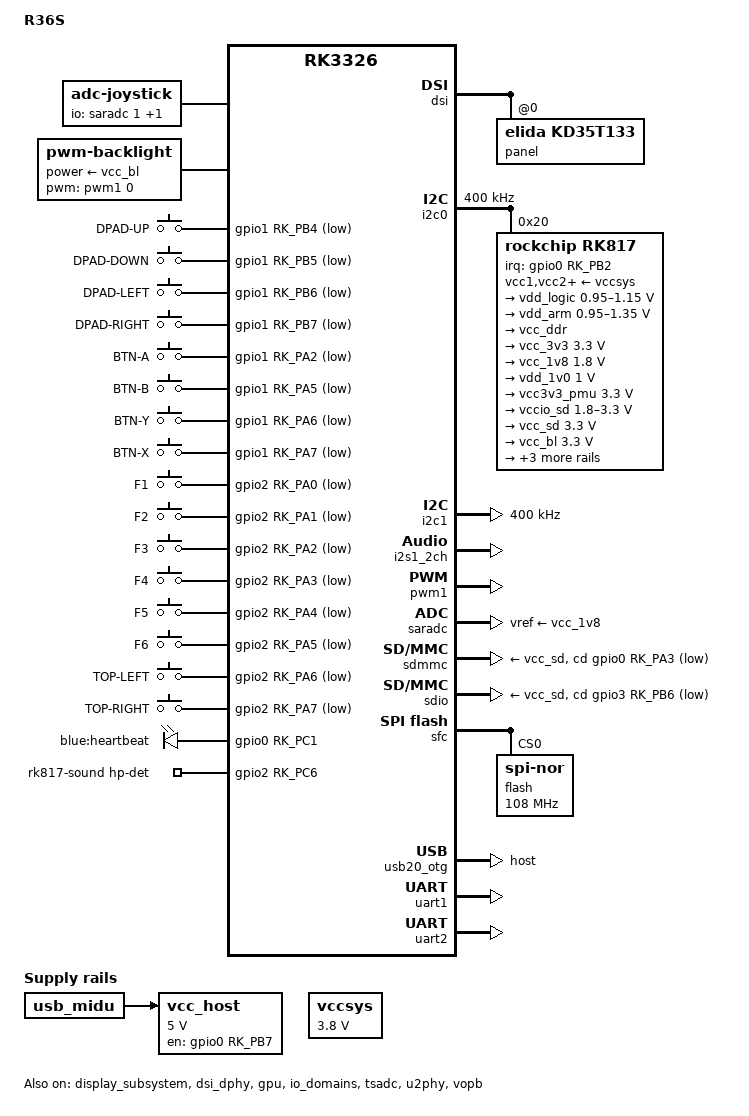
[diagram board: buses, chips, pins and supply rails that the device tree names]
// SPDX-License-Identifier: (GPL-2.0+ OR MIT)
/*
 * Copyright (c) 2019 Hardkernel Co., Ltd
 * Copyright (c) 2020 Theobroma Systems Design und Consulting GmbH
 */

/dts-v1/;
#include <dt-bindings/gpio/gpio.h>
#include <dt-bindings/input/input.h>
#include <dt-bindings/pinctrl/rockchip.h>
#include "rk3326.dtsi"

/ {
	model = "R36S";
	compatible = "hardkernel,rk3326-odroid-go2", "rockchip,rk3326";

	chosen {
		stdout-path = "serial2:115200n8";
	};

	adc-joystick {
		compatible = "adc-joystick";
		io-channels = <&saradc 1>,
			      <&saradc 2>;
		#address-cells = <1>;
		#size-cells = <0>;

		axis@0 {
			reg = <0>;
			abs-flat = <10>;
			abs-fuzz = <10>;
			abs-range = <172 772>;
			linux,code = <ABS_X>;
		};

		axis@1 {
			reg = <1>;
			abs-flat = <10>;
			abs-fuzz = <10>;
			abs-range = <278 815>;
			linux,code = <ABS_Y>;
		};
	};

	backlight: backlight {
		compatible = "pwm-backlight";
		power-supply = <&vcc_bl>;
		pwms = <&pwm1 0 25000 0>;
	};

	gpio-keys {
		compatible = "gpio-keys";
		pinctrl-names = "default";
		pinctrl-0 = <&btn_pins>;

		/*
		 *      *** ODROIDGO2-Advance Switch layout ***
		 * |------------------------------------------------|
		 * | sw15                                      sw16 |
		 * |------------------------------------------------|
		 * |     sw1      |-------------------|      sw8    |
		 * |  sw3   sw4   |                   |   sw7   sw5 |
		 * |     sw2      |    LCD Display    |      sw6    |
		 * |              |                   |             |
		 * |              |-------------------|             |
		 * |         sw9 sw10   sw11 sw12   sw13 sw14       |
		 * |------------------------------------------------|
		 */

		sw1 {
			gpios = <&gpio1 RK_PB4 GPIO_ACTIVE_LOW>;
			label = "DPAD-UP";
			linux,code = <BTN_DPAD_UP>;
		};
		sw2 {
			gpios = <&gpio1 RK_PB5 GPIO_ACTIVE_LOW>;
			label = "DPAD-DOWN";
			linux,code = <BTN_DPAD_DOWN>;
		};
		sw3 {
			gpios = <&gpio1 RK_PB6 GPIO_ACTIVE_LOW>;
			label = "DPAD-LEFT";
			linux,code = <BTN_DPAD_LEFT>;
		};
		sw4 {
			gpios = <&gpio1 RK_PB7 GPIO_ACTIVE_LOW>;
			label = "DPAD-RIGHT";
			linux,code = <BTN_DPAD_RIGHT>;
		};
		sw5 {
			gpios = <&gpio1 RK_PA2 GPIO_ACTIVE_LOW>;
			label = "BTN-A";
			linux,code = <BTN_EAST>;
		};
		sw6 {
			gpios = <&gpio1 RK_PA5 GPIO_ACTIVE_LOW>;
			label = "BTN-B";
			linux,code = <BTN_SOUTH>;
		};
		sw7 {
			gpios = <&gpio1 RK_PA6 GPIO_ACTIVE_LOW>;
			label = "BTN-Y";
			linux,code = <BTN_WEST>;
		};
		sw8 {
			gpios = <&gpio1 RK_PA7 GPIO_ACTIVE_LOW>;
			label = "BTN-X";
			linux,code = <BTN_NORTH>;
		};
		sw9 {
			gpios = <&gpio2 RK_PA0 GPIO_ACTIVE_LOW>;
			label = "F1";
			linux,code = <BTN_TRIGGER_HAPPY1>;
		};
		sw10 {
			gpios = <&gpio2 RK_PA1 GPIO_ACTIVE_LOW>;
			label = "F2";
			linux,code = <BTN_TRIGGER_HAPPY2>;
		};
		sw11 {
			gpios = <&gpio2 RK_PA2 GPIO_ACTIVE_LOW>;
			label = "F3";
			linux,code = <BTN_TRIGGER_HAPPY3>;
		};
		sw12 {
			gpios = <&gpio2 RK_PA3 GPIO_ACTIVE_LOW>;
			label = "F4";
			linux,code = <BTN_TRIGGER_HAPPY4>;
		};
		sw13 {
			gpios = <&gpio2 RK_PA4 GPIO_ACTIVE_LOW>;
			label = "F5";
			linux,code = <BTN_TRIGGER_HAPPY5>;
		};
		sw14 {
			gpios = <&gpio2 RK_PA5 GPIO_ACTIVE_LOW>;
			label = "F6";
			linux,code = <BTN_TRIGGER_HAPPY6>;
		};
		sw15 {
			gpios = <&gpio2 RK_PA6 GPIO_ACTIVE_LOW>;
			label = "TOP-LEFT";
			linux,code = <BTN_TL>;
		};
		sw16 {
			gpios = <&gpio2 RK_PA7 GPIO_ACTIVE_LOW>;
			label = "TOP-RIGHT";
			linux,code = <BTN_TR>;
		};
	};

	leds: gpio-leds {
		compatible = "gpio-leds";
		pinctrl-names = "default";
		pinctrl-0 = <&blue_led_pin>;

		blue_led: led-0 {
			label = "blue:heartbeat";
			gpios = <&gpio0 RK_PC1 GPIO_ACTIVE_HIGH>;
			linux,default-trigger = "heartbeat";
		};
	};

	rk817-sound {
		compatible = "simple-audio-card";
		simple-audio-card,name = "Analog";
		simple-audio-card,format = "i2s";
		simple-audio-card,hp-det-gpio = <&gpio2 RK_PC6 GPIO_ACTIVE_HIGH>;
		simple-audio-card,mclk-fs = <256>;
		simple-audio-card,widgets =
			"Microphone", "Mic Jack",
			"Headphone", "Headphones",
			"Speaker", "Speaker";
		simple-audio-card,routing =
			"MICL", "Mic Jack",
			"Headphones", "HPOL",
			"Headphones", "HPOR",
			"Speaker", "SPKO";

		simple-audio-card,codec {
			sound-dai = <&rk817>;
		};

		simple-audio-card,cpu {
			sound-dai = <&i2s1_2ch>;
		};
	};

	vccsys: vccsys {
		compatible = "regulator-fixed";
		regulator-name = "vcc3v8_sys";
		regulator-always-on;
		regulator-min-microvolt = <3800000>;
		regulator-max-microvolt = <3800000>;
	};

	vcc_host: vcc_host {
		compatible = "regulator-fixed";
		regulator-name = "vcc_host";
		regulator-min-microvolt = <5000000>;
		regulator-max-microvolt = <5000000>;

		gpio = <&gpio0 RK_PB7 GPIO_ACTIVE_HIGH>;
		enable-active-high;
		regulator-always-on;
		regulator-boot-on;
		vin-supply = <&usb_midu>;
	};
};

&cpu0 {
	cpu-supply = <&vdd_arm>;
};

&cpu1 {
	cpu-supply = <&vdd_arm>;
};

&cpu2 {
	cpu-supply = <&vdd_arm>;
};

&cpu3 {
	cpu-supply = <&vdd_arm>;
};

&cru {
	assigned-clocks = <&cru PLL_NPLL>,
		<&cru ACLK_BUS_PRE>, <&cru ACLK_PERI_PRE>,
		<&cru HCLK_BUS_PRE>, <&cru HCLK_PERI_PRE>,
		<&cru PCLK_BUS_PRE>, <&cru SCLK_GPU>,
		<&cru PLL_CPLL>;

	assigned-clock-rates = <1188000000>,
		<200000000>, <200000000>,
		<150000000>, <150000000>,
		<100000000>, <200000000>,
		<17000000>;
};

&display_subsystem {
	status = "okay";
};

&dsi {
	compatible = "rockchip,px30-mipi-dsi";
	reg = <0x00 0xff450000 0x00 0x10000>;
	interrupts = <0x00 0x4b 0x04>;
	clocks = <0x02 0x144 0x4c>;
	clock-names = "pclk", "hs_clk";
	resets = <0x02 0x3d>;
	reset-names = "apb";
	phys = <0x4c>;
	phy-names = "mipi_dphy";
	power-domains = <0x8a 0x0c>;
	rockchip,grf = <0x2f>;
	#address-cells = <0x01>;
	#size-cells = <0x00>;
	status = "okay";
	phandle = <0x10c>;

	ports {
		#address-cells = <0x01>;
		#size-cells = <0x00>;

		port@0 {
			reg = <0x00>;
			#address-cells = <0x01>;
			#size-cells = <0x00>;

			endpoint@0 {
				reg = <0x00>;
				remote-endpoint = <0x13>;
				status = "okay";
				phandle = <0xa3>;
			};
		};
	};

	panel@0 {
		compatible = "elida,kd35t133", "simple-panel-dsi";
		reg = <0x00>;
		backlight = <0x9d>;
		backlight-supply = <0x9e>;
		power-supply = <0x9f>;
		reset-gpios = <0x97 0x10 0x01>;
		reset-delay-ms = <0x96>;
		init-delay-ms = <0x14>;
		enable-delay-ms = <0x78>;
		prepare-delay-ms = <0x14>;
		unprepare-delay-ms = <0x14>;
		disable-delay-ms = <0x32>;
		width-mm = <0x34>;
		height-mm = <0x46>;
		dsi,flags = <0xa03>;
		dsi,format = <0x00>;
		dsi,lanes = <0x04>;

		panel-init-sequence = [
			15 00 02 ff 30 15 00 02 ff 52 15 00 02 ff 01 15 00 02 e3 00 
			15 00 02 25 10 15 00 02 28 6f 15 00 02 29 01 15 00 02 2a df 
			15 00 02 2c 22 15 00 02 c3 0f 15 00 02 37 9c 15 00 02 38 a7 
			15 00 02 39 41 15 00 02 80 20 15 00 02 91 67 15 00 02 92 67 
			15 00 02 a0 55 15 00 02 a1 50 15 00 02 a3 58 15 00 02 a4 9c 
			15 00 02 a7 02 15 00 02 a8 01 15 00 02 a9 21 15 00 02 aa fc 
			15 00 02 ab 28 15 00 02 ac 06 15 00 02 ad 06 15 00 02 ae 06 
			15 00 02 af 03 15 00 02 b0 08 15 00 02 b1 26 15 00 02 b2 28 
			15 00 02 b3 28 15 00 02 b4 03 15 00 02 b5 08 15 00 02 b6 26 
			15 00 02 b7 08 15 00 02 b8 26 15 00 02 2c 22 15 00 02 5c 40 
			15 00 02 c0 00 15 00 02 c1 00 15 00 02 c2 00 15 00 02 ff 30 
			15 00 02 ff 52 15 00 02 ff 02 15 00 02 b0 02 15 00 02 d0 02 
			15 00 02 b1 0f 15 00 02 d1 10 15 00 02 b2 11 15 00 02 d2 12 
			15 00 02 b3 32 15 00 02 d3 33 15 00 02 b4 36 15 00 02 d4 36 
			15 00 02 b5 3c 15 00 02 d5 3c 15 00 02 b6 20 15 00 02 d6 20 
			15 00 02 b7 3e 15 00 02 d7 3e 15 00 02 b8 0e 15 00 02 d8 0d 
			15 00 02 b9 05 15 00 02 d9 05 15 00 02 ba 11 15 00 02 da 12 
			15 00 02 bb 11 15 00 02 db 11 15 00 02 bc 13 15 00 02 dc 14 
			15 00 02 bd 14 15 00 02 dd 14 15 00 02 be 16 15 00 02 de 18 
			15 00 02 bf 0e 15 00 02 df 0f 15 00 02 c0 17 15 00 02 e0 17 
			15 00 02 c1 07 15 00 02 e1 08 15 00 02 ff 30 15 00 02 ff 52 
			15 00 02 ff 03 15 00 02 08 8a 15 00 02 09 8b 15 00 02 30 00 
			15 00 02 31 00 15 00 02 32 00 15 00 02 33 00 15 00 02 34 61 
			15 00 02 35 d4 15 00 02 36 24 15 00 02 37 03 15 00 02 40 86 
			15 00 02 41 87 15 00 02 42 84 15 00 02 43 85 15 00 02 44 11 
			15 00 02 45 de 15 00 02 46 dd 15 00 02 47 11 15 00 02 48 e0 
			15 00 02 49 df 15 00 02 50 82 15 00 02 51 83 15 00 02 52 80 
			15 00 02 53 81 15 00 02 54 11 15 00 02 55 e2 15 00 02 56 e1 
			15 00 02 57 11 15 00 02 58 e4 15 00 02 59 e3 15 00 02 82 0f 
			15 00 02 83 0f 15 00 02 84 00 15 00 02 85 0f 15 00 02 86 0f 
			15 00 02 87 0e 15 00 02 88 0e 15 00 02 89 06 15 00 02 8a 06 
			15 00 02 8b 07 15 00 02 8c 07 15 00 02 8d 04 15 00 02 8e 04 
			15 00 02 8f 05 15 00 02 90 05 15 00 02 98 0f 15 00 02 99 0f 
			15 00 02 9a 00 15 00 02 9b 0f 15 00 02 9c 0f 15 00 02 9d 0e 
			15 00 02 9e 0e 15 00 02 9f 06 15 00 02 a0 06 15 00 02 a1 07 
			15 00 02 a2 07 15 00 02 a3 04 15 00 02 a4 04 15 00 02 a5 05 
			15 00 02 a6 05 15 00 02 e0 02 15 00 02 e1 52 15 00 02 ff 30 
			15 00 02 ff 52 15 00 02 ff 00 15 00 02 36 02 15 00 02 11 00 
			15 00 02 29 00 05 c8 01 11 05 14 01 29
		];

		panel-exit-sequence = <0x05140128 0x050a0110>;

		display-timings {
			native-mode = <&timing60>;

			timing60: 60Hz {
				clock-frequency = <29000000>;
				hactive = <640>;
				vactive = <480>;
				hfront-porch = <46>;
				hsync-len = <2>;
				hback-porch = <44>;
				vfront-porch = <165>;
				vsync-len = <2>;
				vback-porch = <14>;
				hsync-active = <0>;
				vsync-active = <0>;
				de-active = <0>;
				pixelclk-active = <1>;
			};

			timing50: 50Hz {
				clock-frequency = <29000000>;
				hactive = <640>;
				vactive = <480>;
				hfront-porch = <46>;
				hsync-len = <2>;
				hback-porch = <44>;
				vfront-porch = <16>;
				vsync-len = <2>;
				vback-porch = <14>;
				hsync-active = <0>;
				vsync-active = <0>;
				de-active = <0>;
				pixelclk-active = <1>;
			};

			timing75: 75Hz {
				clock-frequency = <29000000>;
				hactive = <640>;
				vactive = <480>;
				hfront-porch = <46>;
				hsync-len = <2>;
				hback-porch = <44>;
				vfront-porch = <16>;
				vsync-len = <2>;
				vback-porch = <14>;
				hsync-active = <0>;
				vsync-active = <0>;
				de-active = <0>;
				pixelclk-active = <1>;
			};
		};
	};
};


&dsi_dphy {
	status = "okay";
};

&gpu {
	mali-supply = <&vdd_logic>;
	status = "okay";
};

&i2c0 {
	clock-frequency = <400000>;
	i2c-scl-falling-time-ns = <16>;
	i2c-scl-rising-time-ns = <280>;
	status = "okay";

	rk817: pmic@20 {
		compatible = "rockchip,rk817";
		reg = <0x20>;
		interrupt-parent = <&gpio0>;
		interrupts = <RK_PB2 IRQ_TYPE_LEVEL_LOW>;
		clock-output-names = "rk808-clkout1", "xin32k";
		clock-names = "mclk";
		clocks = <&cru SCLK_I2S1_OUT>;
		pinctrl-names = "default";
		pinctrl-0 = <&pmic_int>, <&i2s1_2ch_mclk>;
		wakeup-source;
		#clock-cells = <1>;
		#sound-dai-cells = <0>;

		vcc1-supply = <&vccsys>;
		vcc2-supply = <&vccsys>;
		vcc3-supply = <&vccsys>;
		vcc4-supply = <&vccsys>;
		vcc5-supply = <&vccsys>;
		vcc6-supply = <&vccsys>;
		vcc7-supply = <&vccsys>;
		vcc8-supply = <&vccsys>;

		regulators {
			vdd_logic: DCDC_REG1 {
				regulator-name = "vdd_logic";
				regulator-min-microvolt = <950000>;
				regulator-max-microvolt = <1150000>;
				regulator-ramp-delay = <6001>;
				regulator-always-on;
				regulator-boot-on;

				regulator-state-mem {
					regulator-on-in-suspend;
					regulator-suspend-microvolt = <950000>;
				};
			};

			vdd_arm: DCDC_REG2 {
				regulator-name = "vdd_arm";
				regulator-min-microvolt = <950000>;
				regulator-max-microvolt = <1350000>;
				regulator-ramp-delay = <6001>;
				regulator-always-on;
				regulator-boot-on;

				regulator-state-mem {
					regulator-off-in-suspend;
					regulator-suspend-microvolt = <950000>;
				};
			};

			vcc_ddr: DCDC_REG3 {
				regulator-name = "vcc_ddr";
				regulator-always-on;
				regulator-boot-on;

				regulator-state-mem {
					regulator-on-in-suspend;
				};
			};

			vcc_3v3: DCDC_REG4 {
				regulator-name = "vcc_3v3";
				regulator-min-microvolt = <3300000>;
				regulator-max-microvolt = <3300000>;
				regulator-always-on;
				regulator-boot-on;

				regulator-state-mem {
					regulator-off-in-suspend;
					regulator-suspend-microvolt = <3300000>;
				};
			};

			vcc_1v8: LDO_REG2 {
				regulator-name = "vcc_1v8";
				regulator-min-microvolt = <1800000>;
				regulator-max-microvolt = <1800000>;
				regulator-always-on;
				regulator-boot-on;

				regulator-state-mem {
					regulator-on-in-suspend;
					regulator-suspend-microvolt = <1800000>;
				};
			};

			vdd_1v0: LDO_REG3 {
				regulator-name = "vdd_1v0";
				regulator-min-microvolt = <1000000>;
				regulator-max-microvolt = <1000000>;
				regulator-always-on;
				regulator-boot-on;

				regulator-state-mem {
					regulator-on-in-suspend;
					regulator-suspend-microvolt = <1000000>;
				};
			};

			vcc3v3_pmu: LDO_REG4 {
				regulator-name = "vcc3v3_pmu";
				regulator-min-microvolt = <3300000>;
				regulator-max-microvolt = <3300000>;
				regulator-always-on;
				regulator-boot-on;

				regulator-state-mem {
					regulator-on-in-suspend;
					regulator-suspend-microvolt = <3300000>;
				};
			};

			vccio_sd: LDO_REG5 {
				regulator-name = "vccio_sd";
				regulator-min-microvolt = <1800000>;
				regulator-max-microvolt = <3300000>;
				regulator-always-on;
				regulator-boot-on;

				regulator-state-mem {
					regulator-on-in-suspend;
					regulator-suspend-microvolt = <3300000>;
				};
			};

			vcc_sd: LDO_REG6 {
				regulator-name = "vcc_sd";
				regulator-min-microvolt = <3300000>;
				regulator-max-microvolt = <3300000>;
				regulator-boot-on;

				regulator-state-mem {
					regulator-on-in-suspend;
					regulator-suspend-microvolt = <3300000>;
				};
			};

			vcc_bl: LDO_REG7 {
				regulator-name = "vcc_bl";
				regulator-min-microvolt = <3300000>;
				regulator-max-microvolt = <3300000>;

				regulator-state-mem {
					regulator-off-in-suspend;
					regulator-suspend-microvolt = <3300000>;
				};
			};

			vcc_lcd: LDO_REG8 {
				regulator-name = "vcc_lcd";
				regulator-min-microvolt = <2800000>;
				regulator-max-microvolt = <2800000>;

				regulator-state-mem {
					regulator-off-in-suspend;
					regulator-suspend-microvolt = <2800000>;
				};
			};

			vcc_cam: LDO_REG9 {
				regulator-name = "vcc_cam";
				regulator-min-microvolt = <3000000>;
				regulator-max-microvolt = <3000000>;

				regulator-state-mem {
					regulator-off-in-suspend;
					regulator-suspend-microvolt = <3000000>;
				};
			};

			usb_midu: BOOST {
				regulator-name = "usb_midu";
				regulator-min-microvolt = <5000000>;
				regulator-max-microvolt = <5400000>;
				regulator-always-on;
				regulator-boot-on;
			};
		};

		rk817_codec: codec {
			rockchip,mic-in-differential;
		};
	};
};

/* EXT Header(P2): 7(SCL:GPIO0.C2), 8(SDA:GPIO0.C3) */
&i2c1 {
	clock-frequency = <400000>;
	status = "okay";
};

/* I2S 1 Channel Used */
&i2s1_2ch {
	status = "okay";
};

&io_domains {
	vccio1-supply = <&vcc_3v3>;
	vccio2-supply = <&vccio_sd>;
	vccio3-supply = <&vcc_3v3>;
	vccio4-supply = <&vcc_3v3>;
	vccio5-supply = <&vcc_3v3>;
	vccio6-supply = <&vcc_3v3>;
	status = "okay";
};

&pmu_io_domains {
	pmuio1-supply = <&vcc3v3_pmu>;
	pmuio2-supply = <&vcc3v3_pmu>;
	status = "okay";
};

&pwm1 {
	status = "okay";
};

&saradc {
	vref-supply = <&vcc_1v8>;
	status = "okay";
};

&sdmmc {
	cap-sd-highspeed;
	card-detect-delay = <1200>;
	cd-gpios = <&gpio0 RK_PA3 GPIO_ACTIVE_LOW>; /*[> CD GPIO <]*/
	sd-uhs-sdr12;
	sd-uhs-sdr25;
	sd-uhs-sdr50;
	sd-uhs-sdr104;
	vmmc-supply = <&vcc_sd>;
	vqmmc-supply = <&vccio_sd>;
	status = "okay";
};

&sdio {
	status = "okay";
	cd-gpios = <&gpio3 RK_PB6 GPIO_ACTIVE_LOW>;
	cap-mmc-highspeed;
	cap-sd-highspeed;
	supports-sd;
	card-detect-delay = <800>;
	sd-uhs-sdr12;
	sd-uhs-sdr25;
	sd-uhs-sdr50;
	sd-uhs-sdr104;
	vmmc-supply = <&vcc_sd>;
	vqmmc-supply = <&vccio_sd>;
};

&sfc {
	pinctrl-0 = <&sfc_clk &sfc_cs0 &sfc_bus2>;
	pinctrl-names = "default";
	#address-cells = <1>;
	#size-cells = <0>;
	status = "okay";

	flash@0 {
		compatible = "jedec,spi-nor";
		reg = <0>;
		spi-max-frequency = <108000000>;
		spi-rx-bus-width = <2>;
		spi-tx-bus-width = <1>;
	};
};

&tsadc {
	status = "okay";
};


&u2phy {
	status = "okay";

	u2phy_host: host-port {
		status = "okay";
	};

	u2phy_otg: otg-port {
		status = "disabled";
	};
};

&usb20_otg {
	status = "okay";
	dr_mode = "host";
};

&uart1 {
	pinctrl-names = "default";
	pinctrl-0 = <&uart1_xfer &uart1_cts>;
	status = "okay";
};

&uart2 {
	pinctrl-names = "default";
	pinctrl-0 = <&uart2m1_xfer>;
	status = "okay";
};

&vopb {
	status = "okay";
};

&vopb_mmu {
	status = "okay";
};

&pinctrl {
	btns {
		btn_pins: btn-pins {
			rockchip,pins = <1 RK_PA2 RK_FUNC_GPIO &pcfg_pull_up>,
					<1 RK_PA5 RK_FUNC_GPIO &pcfg_pull_up>,
					<1 RK_PA6 RK_FUNC_GPIO &pcfg_pull_up>,
					<1 RK_PA7 RK_FUNC_GPIO &pcfg_pull_up>,
					<1 RK_PB4 RK_FUNC_GPIO &pcfg_pull_up>,
					<1 RK_PB5 RK_FUNC_GPIO &pcfg_pull_up>,
					<1 RK_PB6 RK_FUNC_GPIO &pcfg_pull_up>,
					<1 RK_PB7 RK_FUNC_GPIO &pcfg_pull_up>,
					<2 RK_PA0 RK_FUNC_GPIO &pcfg_pull_up>,
					<2 RK_PA1 RK_FUNC_GPIO &pcfg_pull_up>,
					<2 RK_PA2 RK_FUNC_GPIO &pcfg_pull_up>,
					<2 RK_PA3 RK_FUNC_GPIO &pcfg_pull_up>,
					<2 RK_PA4 RK_FUNC_GPIO &pcfg_pull_up>,
					<2 RK_PA5 RK_FUNC_GPIO &pcfg_pull_up>,
					<2 RK_PA6 RK_FUNC_GPIO &pcfg_pull_up>,
					<2 RK_PA7 RK_FUNC_GPIO &pcfg_pull_up>;
		};
	};

	headphone {
		hp_det: hp-det {
			rockchip,pins = <2 RK_PC6 RK_FUNC_GPIO &pcfg_pull_down>;
		};
	};

	leds {
		blue_led_pin: blue-led-pin {
			rockchip,pins = <0 RK_PC1 RK_FUNC_GPIO &pcfg_pull_none>;
		};
	};

	pmic {
		dc_det: dc-det {
			rockchip,pins = <0 RK_PB3 RK_FUNC_GPIO &pcfg_pull_none>;
		};

		pmic_int: pmic-int {
			rockchip,pins = <0 RK_PB2 RK_FUNC_GPIO &pcfg_pull_up>;
		};

		soc_slppin_gpio: soc_slppin_gpio {
			rockchip,pins = <0 RK_PA4 RK_FUNC_GPIO &pcfg_output_low>;
		};

		soc_slppin_rst: soc_slppin_rst {
			rockchip,pins = <0 RK_PA4 2 &pcfg_pull_none>;
		};

		soc_slppin_slp: soc_slppin_slp {
			rockchip,pins = <0 RK_PA4 1 &pcfg_pull_none>;
		};
	};
};
